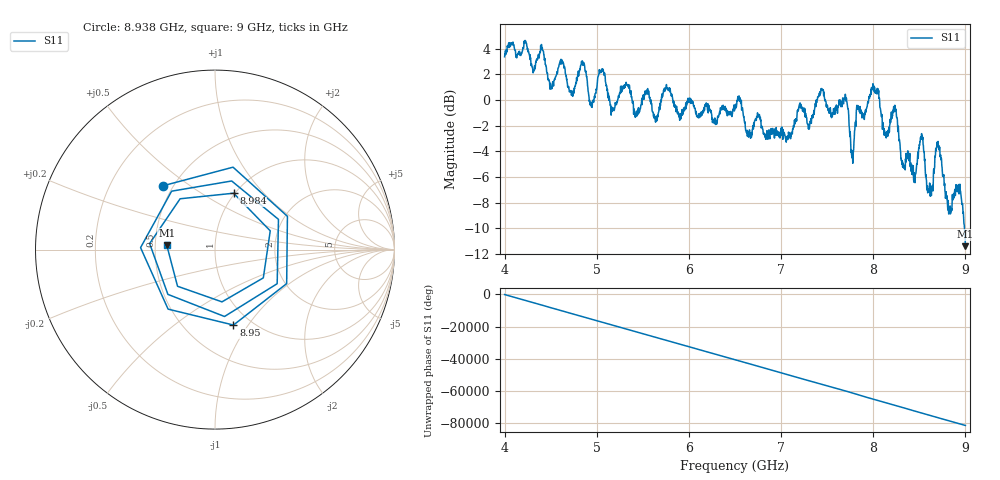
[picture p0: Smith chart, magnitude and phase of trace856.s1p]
! Created with skrf 1.8.0 (http://scikit-rf.org).
# Hz S RI R 50.0
!freq ReS11 ImS11
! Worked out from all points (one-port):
!   1601 points, 4 GHz to 9 GHz, reference 50 ohm
!   lowest |S11| = -11.4 dB at 9 GHz (marker M1), VSWR 1.74, Z = 28.8 + j1.52 ohm
!   |S11| at or under -10 dB: 8.989998 GHz to end of sweep
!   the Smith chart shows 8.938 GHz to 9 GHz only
!   S11 on the Smith chart (normalised r, x): 8.938 GHz: 0.44, +0.40; 8.95 GHz: 0.83, -0.86; 8.984 GHz: 0.99, +0.70; 9 GHz: 0.58, +0.03
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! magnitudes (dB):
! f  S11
! 4 GHz  3.4
! 4.403 GHz  4.1
! 4.509 GHz  1.0
! 4.625 GHz  3.1
! 4.728 GHz  0.4
! 4.856 GHz  2.9
! 4.944 GHz  -0.5
! 5.047 GHz  2.1
! 5.166 GHz  -0.9
! 5.25 GHz  0.6
! 5.875 GHz  -1.1
! 6.5 GHz  -0.4
! 6.659 GHz  -2.4
! 7.125 GHz  -2.3
! 7.441 GHz  0.9
! 7.694 GHz  0.1
! 7.75 GHz  -2.5
! 8.006 GHz  1.1
! 8.375 GHz  -4.0
! 8.444 GHz  -5.7
! 8.528 GHz  -3.1
! 8.606 GHz  -7.2
! 8.703 GHz  -3.2
! 8.828 GHz  -8.8
! 8.938 GHz  -6.8
! 8.95 GHz  -7.3
! 8.984 GHz  -9.6
! 9 GHz  -11.4
